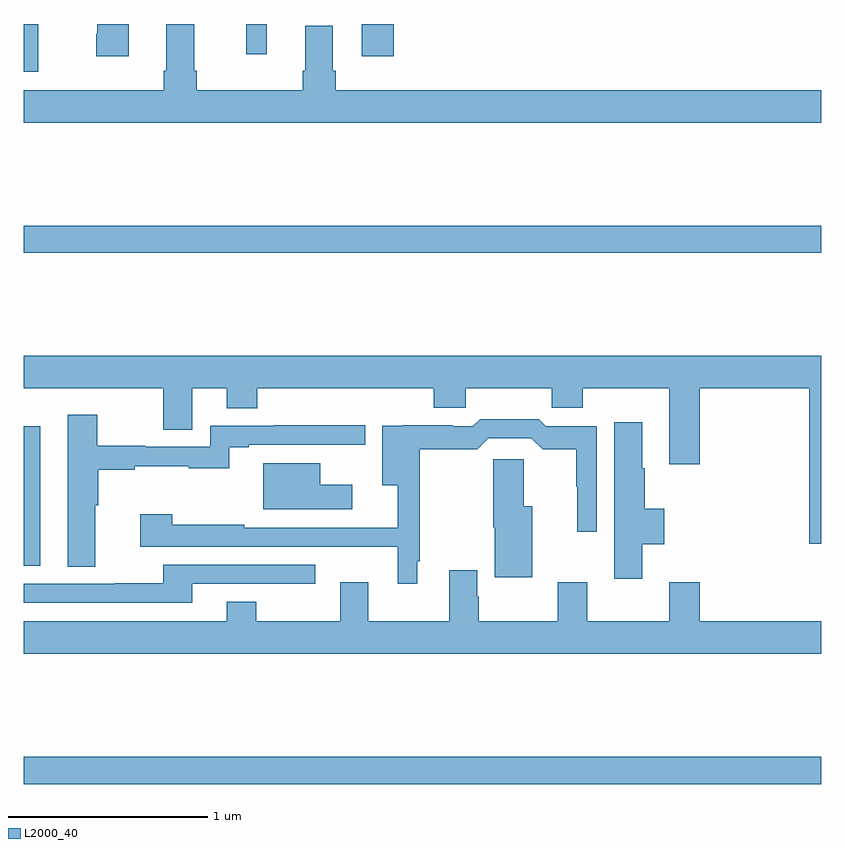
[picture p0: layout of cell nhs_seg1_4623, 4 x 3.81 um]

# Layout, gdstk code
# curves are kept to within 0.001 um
import gdstk
lib = gdstk.Library(unit=1e-6, precision=1e-09)
def R(c, l, rs):  # rectangles x0, y0, x1, y1
    for r in rs: c.add(gdstk.rectangle(r[:2], r[2:], *l))
def P(c, l, *ps):  # polygons
    for p in ps: c.add(gdstk.Polygon(p, *l))
L2000_40 = (2000, 40)

nhs_seg1_4623 = lib.new_cell('nhs_seg1_4623')
R(nhs_seg1_4623, L2000_40, [(361,576.388,365,576.524), (361,577.482,361.084,578.182), (361,579.052,365,579.188), (361,579.96,361.072,580.199), (362.696,580.038,362.855,580.199), (362.116,580.047,362.219,580.199)])
P(nhs_seg1_4623, L2000_40, [(361.528,580.199),(361.37,580.199),(361.37,580.15),(361.363,580.15),(361.363,580.038),(361.528,580.038)],
  [(365,579.868),(362.564,579.868),(362.564,579.964),(362.551,579.964),(362.551,580.189),(362.411,580.189),(362.411,579.964),(362.399,579.964),(362.399,579.868),(361.868,579.868),(361.868,579.964),(361.855,579.964),(361.855,580.199),(361.715,580.199),(361.715,579.964),(361.703,579.964),(361.703,579.868),(361,579.868),(361,579.704),(365,579.704)],
  [(365,578.536),(361,578.536),(361,578.372),(361.699,578.372),(361.699,578.164),(361.846,578.164),(361.846,578.372),(362.018,578.372),(362.018,578.273),(362.171,578.273),(362.171,578.372),(363.056,578.372),(363.056,578.274),(363.216,578.274),(363.216,578.372),(363.649,578.372),(363.649,578.274),(363.804,578.274),(363.804,578.372),(364.238,578.372),(364.238,577.992),(364.391,577.992),(364.391,578.372),(364.94,578.372),(364.94,577.593),(365,577.593)],
  [(361.36,577.786),(361.373,577.786),(361.373,577.963),(361.556,577.963),(361.556,577.981),(361.828,577.981),(361.828,577.971),(362.032,577.971),(362.032,578.076),(362.128,578.076),(362.128,578.088),(362.713,578.088),(362.713,578.186),(362.254,578.186),(362.254,578.184),(361.935,578.184),(361.935,578.079),(361.61,578.079),(361.61,578.084),(361.368,578.084),(361.368,578.239),(361.22,578.239),(361.22,577.477),(361.36,577.477)],
  [(362.974,577.504),(362.986,577.504),(362.986,578.066),(363.275,578.066),(363.33,578.121),(363.546,578.121),(363.602,578.066),(363.772,578.066),(363.772,577.878),(363.775,577.878),(363.775,577.653),(363.873,577.653),(363.873,578.181),(363.618,578.181),(363.582,578.218),(363.289,578.218),(363.252,578.181),(363.152,578.181),(363.152,578.186),(362.798,578.185),(362.798,577.886),(362.875,577.886),(362.875,577.674),(362.105,577.674),(362.105,577.687),(361.745,577.687),(361.745,577.741),(361.584,577.741),(361.584,577.578),(362.876,577.577),(362.876,577.392),(362.974,577.392)],
  [(364.102,577.591),(364.213,577.591),(364.213,577.769),(364.115,577.769),(364.115,577.971),(364.102,577.971),(364.102,578.203),(363.962,578.203),(363.962,577.416),(364.102,577.416)],
  [(363.55,577.78),(363.508,577.78),(363.508,578.017),(363.355,578.017),(363.355,577.676),(363.362,577.676),(363.362,577.424),(363.55,577.424)],
  [(362.647,577.888),(362.488,577.888),(362.488,577.996),(362.201,577.996),(362.201,577.766),(362.647,577.766)],
  [(361.846,577.392),(362.461,577.392),(362.461,577.488),(361.699,577.488),(361.699,577.394),(361.456,577.394),(361.456,577.392),(361,577.392),(361,577.296),(361.846,577.296)],
  [(365,577.204),(364.391,577.204),(364.391,577.399),(364.238,577.399),(364.238,577.204),(363.826,577.204),(363.826,577.399),(363.679,577.399),(363.679,577.204),(363.282,577.204),(363.282,577.328),(363.274,577.328),(363.274,577.459),(363.134,577.459),(363.134,577.204),(362.728,577.204),(362.728,577.399),(362.588,577.399),(362.588,577.204),(362.166,577.204),(362.166,577.303),(362.018,577.303),(362.018,577.204),(361,577.204),(361,577.04),(365,577.04)])

lib.write_gds('nhs_seg1_4623.gds')
